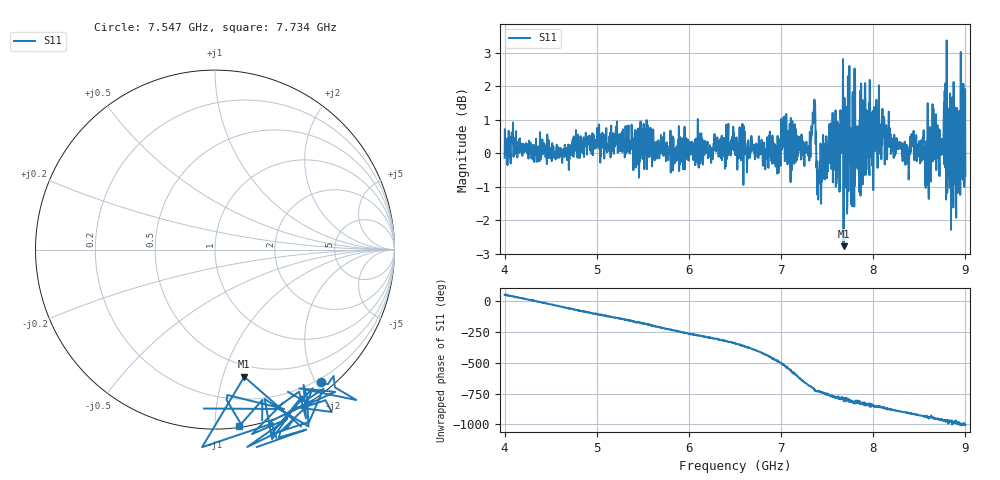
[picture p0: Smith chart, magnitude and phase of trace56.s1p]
! Created with skrf 1.8.0 (http://scikit-rf.org).
# Hz S RI R 50.0
!freq ReS11 ImS11
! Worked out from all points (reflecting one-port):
!   1601 points, 4 GHz to 9 GHz, reference 50 ohm
!   lowest |S11| = -2.8 dB at 7.678 GHz (marker M1), VSWR 6.32, Z = 19.6 - j58.9 ohm
!   phase of S11 starts at 50 deg and turns -1055 deg over the sweep
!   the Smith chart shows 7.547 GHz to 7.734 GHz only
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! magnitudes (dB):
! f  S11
! 4 GHz  -0.1
! 4.1 GHz  0.1
! 4.625 GHz  -0.3
! 5.25 GHz  0.1
! 5.875 GHz  0.0
! 6.5 GHz  0.2
! 7.125 GHz  0.2
! 7.294 GHz  -0.1
! 7.353 GHz  1.0
! 7.412 GHz  -0.7
! 7.466 GHz  0.3
! 7.609 GHz  -0.5
! 7.647 GHz  1.0
! 7.678 GHz  -2.8
! 7.703 GHz  -0.6
! 7.75 GHz  0.6
! 7.769 GHz  0.0
! 7.891 GHz  0.5
! 8.05 GHz  0.8
! 8.375 GHz  -0.1
! 8.441 GHz  0.0
! 8.588 GHz  0.5
! 8.656 GHz  1.1
! 8.734 GHz  0.4
! 8.791 GHz  -1.4
! 8.875 GHz  1.3
! 8.972 GHz  0.6
! 9 GHz  -0.7
